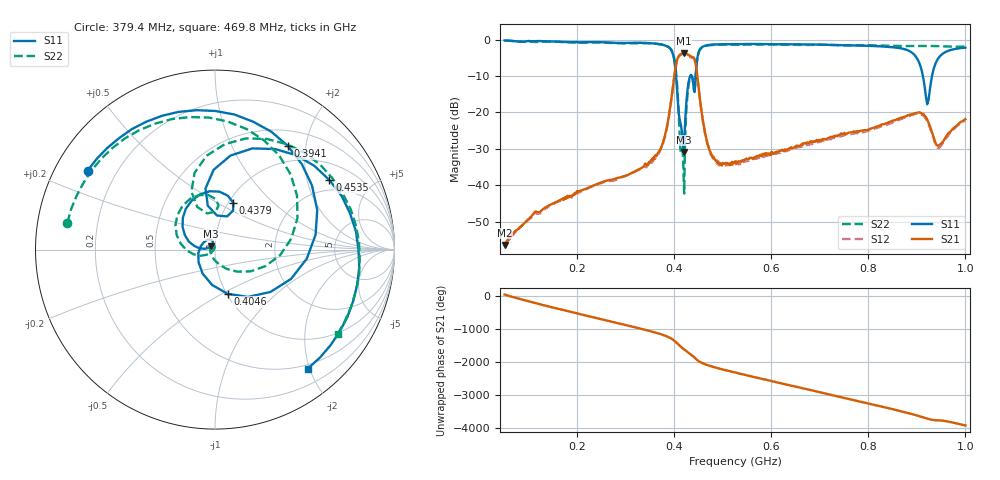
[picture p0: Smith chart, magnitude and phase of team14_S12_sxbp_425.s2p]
! TTR506A,Tektronix,B010463,Application version 2.0.1.4ead5a2e Firmware version 066185400
! Freq ReS11 ImS11 ReS21 ImS21 ReS12 ImS12 ReS22 ImS22
# HZ S RI R 50
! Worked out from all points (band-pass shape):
!   1024 points, 50 MHz to 1 GHz, reference 50 ohm
!   highest |S21| = -3.75 dB at 419.1 MHz (marker M1); lowest = -56.4 dB at 50.15 MHz (marker M2)
!   |S21| within 3 dB of the highest: 403.5 MHz to 444 MHz (40.53 MHz wide, 9.56 % of centre)
!   lowest |S11| = -30.9 dB at 419.1 MHz (marker M3), VSWR 1.06, Z = 47.9 + j1.87 ohm
!   |S11| at or under -10 dB: 403.5 MHz to 432.6 MHz (29.1 MHz wide, 6.96 % of centre); 436 MHz to 444 MHz (8.035 MHz wide, 1.83 % of centre); 912.3 MHz to 931.3 MHz (18.99 MHz wide, 2.06 % of centre)
!   |S22| runs from -42.3 to -0.3 dB; largest |S21 - S12| = 0.02
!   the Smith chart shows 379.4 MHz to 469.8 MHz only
!   S11 on the Smith chart (normalised r, x): 379.4 MHz: 0.10, +0.28; 394.1 MHz: 0.73, +1.68; 404.6 MHz: 1.01, -0.53; 437.9 MHz: 1.05, +0.60; 453.5 MHz: 1.58, +2.75; 469.8 MHz: 0.44, -1.97
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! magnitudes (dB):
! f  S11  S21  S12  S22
! 50 MHz  -0.3  -56.4  -56.7  -0.3
! 50.15 MHz  -0.3  -56.4  -56.6  -0.3
! 112.9 MHz  -0.5  -47.3  -47.6  -0.7
! 208.7 MHz  -0.8  -41.4  -41.7  -0.9
! 367.3 MHz  -1.2  -30.9  -31.4  -1.2
! 379.4 MHz  -1.6  -27.0  -27.3  -1.6
! 394.1 MHz  -3.0  -15.9  -16.3  -2.9
! 404.6 MHz  -11.8  -6.1  -6.4  -10.6
! 414.2 MHz  -24.1  -3.9  -4.2  -30.8
! 419.1 MHz  -30.9  -3.8  -4.0  -37.8
! 430.3 MHz  -11.1  -4.4  -4.6  -11.7
! 437.9 MHz  -11.0  -4.8  -5.1  -11.0
! 453.5 MHz  -2.5  -17.2  -17.6  -2.7
! 469.8 MHz  -1.5  -29.2  -29.5  -1.6
! 490.9 MHz  -1.3  -33.6  -34.3  -1.4
! 525.1 MHz  -1.3  -33.5  -34.1  -1.4
! 683.4 MHz  -1.3  -28.2  -28.7  -1.5
! 843.8 MHz  -2.0  -22.6  -23.1  -1.7
! 889.5 MHz  -3.6  -20.5  -20.7  -1.8
! 921.3 MHz  -17.8  -21.9  -22.4  -1.8
! 948.7 MHz  -4.4  -28.7  -29.3  -1.8
! 1 GHz  -2.2  -21.9  -22.2  -1.9
